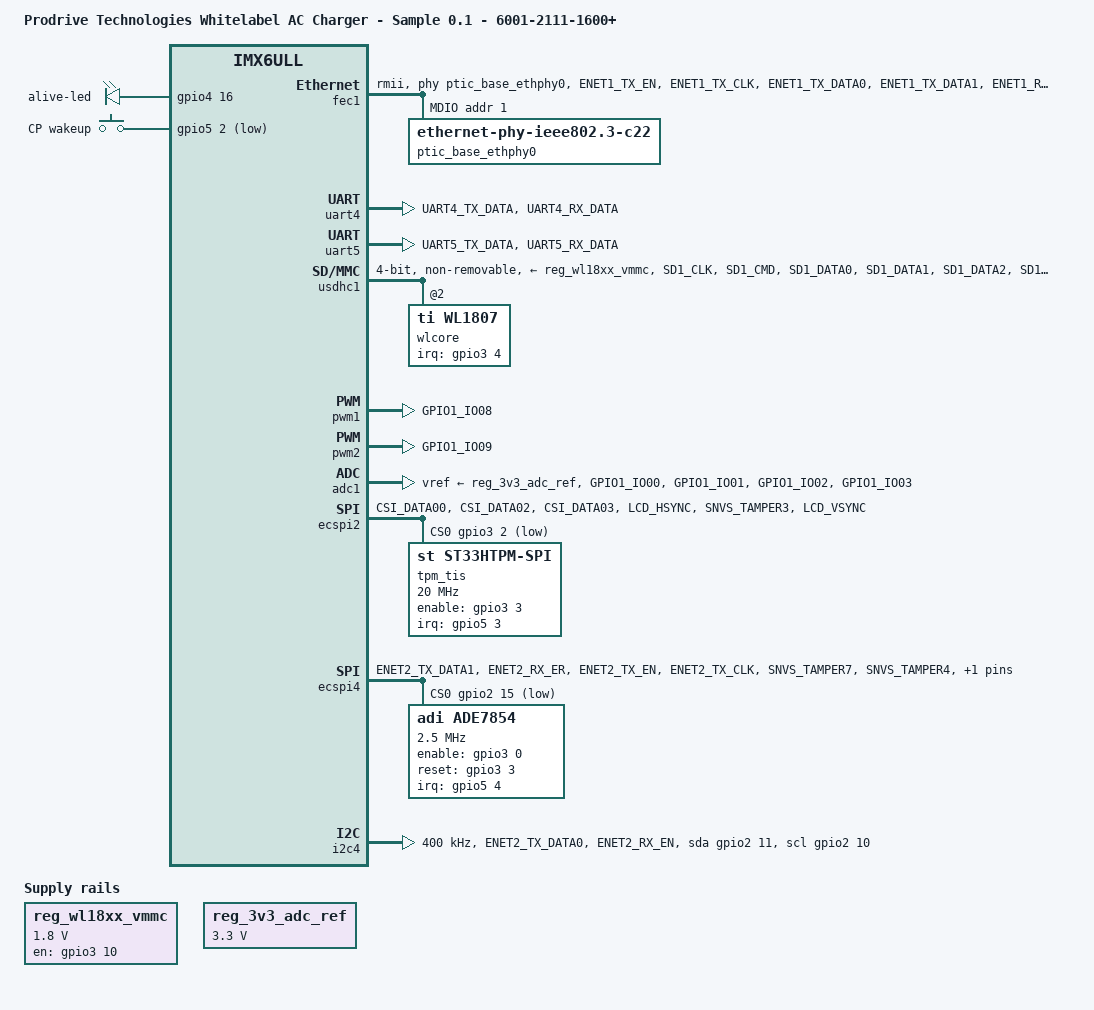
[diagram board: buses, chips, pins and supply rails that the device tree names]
// SPDX-License-Identifier: (GPL-2.0 OR MIT)
//
// Copyright (C) 2021 Prodrive Technologies

/dts-v1/;

#include "ptic/imx6ulx-bb-v1.dtsi"

/ {
	/* Device tree supporting PCBs with release R00 and higher */
	model = "Prodrive Technologies Whitelabel AC Charger - Sample 0.1 - 6001-2111-1600+";
	compatible = "fsl,imx6ull-bb-evk", "fsl,imx6ull";

	reg_wl18xx_vmmc:  regulator-wl18xx-vmcc {
		compatible = "regulator-fixed";
		regulator-name = "vwl1807";
		pinctrl-names = "default";
		pinctrl-0 = <&pinctrl_wlan_en>;
		regulator-min-microvolt = <1800000>;
		regulator-max-microvolt = <1800000>;
		regulator-boot-on;
		regulator-always-on;
		gpio = <&gpio3 10 GPIO_ACTIVE_HIGH>;
		startup-delay-us = <70000>;
		enable-active-high;
	};

	reg_3v3_adc_ref: regulator-3v3-adc-ref {
		compatible = "regulator-fixed";
		regulator-always-on;
		regulator-name = "3v3_adc_ref";
		regulator-min-microvolt = <3300000>;
		regulator-max-microvolt = <3300000>;
	};

	leds {
		compatible = "gpio-leds";
		pinctrl-0 = <&pinctrl_led>;
		led0: led {
			label = "alive-led";
			gpios = <&gpio4 16 GPIO_ACTIVE_HIGH>;
			linux,default-trigger = "heartbeat";
			default-state = "on";
		};
	};

	gpio-keys {
		compatible = "gpio-keys";
		pinctrl-0 = <&pinctrl_cp_wakeup>;
		power {
			label = "CP wakeup";
			gpios = <&gpio5 2 1>;
			linux,code = <116>; /* KEY_POWER */
			gpio-key,wakeup;
		};
	};

};

// TODO: Change Clock rate in future
&clks {
	assigned-clocks = <&clks IMX6UL_CLK_PLL3_PFD2>;
	assigned-clock-rates = <320000000>;
};

/*
  Boot flash, last partition must be defined by user
  Currently set to 128 MiB.
*/
&imx6ulx_bb_nand_flash {
	partition@0x04100000 {
		label = "user definable";
		reg = <0x04100000 0x03F00000>;
	};
};

/*
  These following instances are available on the iMX6ULx BB.
  It is not required to define these as they are disabled by default.
*/
&fec1 {
    pinctrl-names = "default";
    phy-mode = "rmii";
	pinctrl-0 = <&pinctrl_enet1>;
	phy-handle = <&ptic_base_ethphy0>;
	status = "okay";

	mdio {
		#address-cells = <1>;
		#size-cells = <0>;

		ptic_base_ethphy0: ethernet-phy@1 {
			compatible = "ethernet-phy-ieee802.3-c22";
			reg = <1>;
			clocks = <&clks IMX6UL_CLK_ENET_REF>;
		};
	};
};

/* RS485 */
&uart4 {
	pinctrl-names = "default";
	pinctrl-0 = <&pinctrl_uart4>;
	status = "okay";
};
/* SMCU Comm */
&uart5 {
	pinctrl-names = "default";
	pinctrl-0 = <&pinctrl_uart5>;
	status = "okay";
};

&usbotg2 {
	pinctrl-names = "default";
	dr_mode = "host";
	status = "disabled";
};

/* WLAN */
&usdhc1 {
	pinctrl-names = "default";
	vmmc-supply = <&reg_wl18xx_vmmc>;
	pinctrl-0 = <&pinctrl_usdhc1 &pinctrl_wlan_irq>;
	bus-width = <4>;
	status = "okay";
	non-removable;
	cap-power-off-card;
	keep-power-in-suspend;
	sd-uhs-sdr25;
	max-frequency = <25000000>;

	#address-cells = <1>;
	#size-cells = <0>;
	wlcore: wlcore@0 {
		compatible = "ti,wl1807","ti,wl1837";
		reg = <2>;
		interrupt-parent = <&gpio3>;
		interrupts = <4 IRQ_TYPE_EDGE_RISING>;
	};
};

/* Control Pilot */
&pwm1 {
	pinctrl-names = "default";
	pinctrl-0 = <&pinctrl_pwm1>;
	status = "okay";
};

/* Buzzer */
&pwm2 {
	pinctrl-names = "default";
	pinctrl-0 = <&pinctrl_pwm2>;
	#pwm-cells = <2>;
	status = "okay";
};

/* ADC */
&adc1 {
	pinctrl-names = "default";
	pinctrl-0 = <&pinctrl_adc1>;
	vref-supply = <&reg_3v3_adc_ref>;
	num-channels = <4>;
	adc-ch-list = <0 1 2 3>;
	status = "okay";
};

/* TPM */
&ecspi2 {
	pinctrl-names = "default";
	pinctrl-0 = <&pinctrl_ecspi2 &pinctrl_tpm_irq &pinctrl_tpm_stby>;
	status = "okay";
	cs-gpios = <&gpio3 2 GPIO_ACTIVE_LOW>;

	tpm_tis@0 {
		compatible = "st,st33htpm-spi", "tcg,tpm_tis-spi";
		reg = <0>; /* Use CS0 */
		spi-max-frequency = <20000000>; /* TPM up to 33M, iMX up to ~23M */
		interrupt-parent = <&gpio5>;
		interrupts = <3 GPIO_ACTIVE_LOW>;
		enable-gpios = <&gpio3 3 GPIO_ACTIVE_HIGH>;
	};
};

/* PLC Communication */
&ecspi3 {
	pinctrl-names = "default";
	pinctrl-0 = <&pinctrl_ecspi3>;
	status = "disabled";
	cs-gpios = <&gpio1 20 GPIO_ACTIVE_LOW>;
};

/* Energy Meter */
&ecspi4 {
	pinctrl-names = "default";
	pinctrl-0 = <&pinctrl_ecspi4 &pinctrl_meter_irqs &pinctrl_meter_enable>;
	status = "okay";
	cs-gpios = <&gpio2 15 GPIO_ACTIVE_LOW>;

	ade7854@0 {
		compatible = "adi,ade7854";
		reg = <0>;
		spi-max-frequency = <2500000>;
		/* Enable METER_PM1 */
		enable-gpios =  <&gpio3 0 GPIO_ACTIVE_HIGH>; /* PM1 (high on iMX = low on meter */
		reset-gpios = <&gpio3 3 GPIO_ACTIVE_HIGH>;
		/* spi-cpol; shown in ad7190 chip example */
		/* spi-cpha; shown in ad7190 chip example */
		interrupt-parent = <&gpio5>;
		interrupts = <4 GPIO_ACTIVE_LOW>, <7 GPIO_ACTIVE_LOW>;
	};
};

/* LED */
&i2c4 {
	clock-frequency = <400000>;
	pinctrl-names = "default", "gpio";
	pinctrl-0 = <&pinctrl_i2c4>;
	pinctrl-1 = <&pinctrl_i2c4_gpio>;
	scl-gpios = <&gpio2 10 (GPIO_ACTIVE_HIGH | GPIO_OPEN_DRAIN)>;
	sda-gpios = <&gpio2 11 (GPIO_ACTIVE_HIGH | GPIO_OPEN_DRAIN)>;
	status = "okay";
};

/* The Label IOMUXC can be used to overwrite GPIO's */
&iomuxc {
  pinctrl-names = "default";
  pinctrl-0 = <&pinctrl_gpio>;

  pinctrl_enet1: enet1grp {
		fsl,pins = <
			MX6UL_PAD_ENET1_TX_EN__ENET1_TX_EN		0x1b0b0
			MX6UL_PAD_ENET1_TX_CLK__ENET1_REF_CLK1	0x4001b031
			MX6UL_PAD_ENET1_TX_DATA0__ENET1_TDATA00	0x1b0b0
			MX6UL_PAD_ENET1_TX_DATA1__ENET1_TDATA01	0x1b0b0
			MX6UL_PAD_ENET1_RX_EN__ENET1_RX_EN		0x1b0b0
			MX6UL_PAD_ENET1_RX_ER__ENET1_RX_ER		0x1b0b0
			MX6UL_PAD_ENET1_RX_DATA0__ENET1_RDATA00	0x1b0b0
			MX6UL_PAD_ENET1_RX_DATA1__ENET1_RDATA01	0x1b0b0
            MX6UL_PAD_ENET2_RX_DATA0__ENET1_MDIO	0x1b0b0
			MX6UL_PAD_ENET2_RX_DATA1__ENET1_MDC		0x1b0b0
		>;
	};

  pinctrl_adc1: adc1grp {
		fsl,pins = <
			MX6UL_PAD_GPIO1_IO00__GPIO1_IO00	0x0 /* CP_ADC */
			MX6UL_PAD_GPIO1_IO01__GPIO1_IO01	0x0 /* PP */
			MX6UL_PAD_GPIO1_IO02__GPIO1_IO02	0x0 /* NTC1 */
			MX6UL_PAD_GPIO1_IO03__GPIO1_IO03	0x0 /* NTC2 */
		>;
	};

  pinctrl_ecspi2: ecspi2grp {
		fsl,pins = <
			MX6UL_PAD_CSI_DATA00__ECSPI2_SCLK	0x10b0
			MX6UL_PAD_CSI_DATA02__ECSPI2_MOSI	0x10b0
			MX6UL_PAD_CSI_DATA03__ECSPI2_MISO	0x10b0
			/*MX6UL_PAD_LCD_HSYNC__ECSPI2_SS1	0x10b0 */
			/*MX6UL_PAD_CSI_DATA01__GPIO4_IO22	0x10b0 */ /* GPIO CS for RFID */
			MX6UL_PAD_LCD_HSYNC__GPIO3_IO02		0x10b0 /* GPIO CS for TPM */
		>;
	};

	pinctrl_ecspi3: ecspi3grp {
		fsl,pins = <
			MX6UL_PAD_UART2_RX_DATA__ECSPI3_SCLK		0x10b0
			MX6UL_PAD_UART2_TX_DATA__GPIO1_IO20		0x10b0 /* CS# */
			MX6UL_PAD_UART2_CTS_B__ECSPI3_MOSI		0x10b0
			MX6UL_PAD_UART2_RTS_B__ECSPI3_MISO		0x10b0
		>;
	};

	pinctrl_ecspi4: ecspi4grp {
		fsl,pins = <
			MX6UL_PAD_ENET2_TX_DATA1__ECSPI4_SCLK		0x10b0
			MX6UL_PAD_ENET2_RX_ER__GPIO2_IO15		0x10b0 /* CS# */
			MX6UL_PAD_ENET2_TX_EN__ECSPI4_MOSI		0x10b0
			MX6UL_PAD_ENET2_TX_CLK__ECSPI4_MISO		0x10b0
		>;
	};

	pinctrl_i2c4: i2c4grp {
			fsl,pins = <
			MX6UL_PAD_ENET2_TX_DATA0__I2C4_SDA	0x4001b8b0
			MX6UL_PAD_ENET2_RX_EN__I2C4_SCL		0x4001b8b0
		>;
	};

	pinctrl_i2c4_gpio: i2c4gpiogrp {
			fsl,pins = <
			MX6UL_PAD_ENET2_TX_DATA0__GPIO2_IO11	0x1b0b0
			MX6UL_PAD_ENET2_RX_EN__GPIO2_IO10		0x1b8b0
		>;
	};

	pinctrl_uart4: uart4grp {
		fsl,pins = <
			MX6UL_PAD_UART4_TX_DATA__UART4_DCE_TX	0x1b0b1
			MX6UL_PAD_UART4_RX_DATA__UART4_DCE_RX	0x1b0b1
		>;
	};

	pinctrl_uart5: uart5grp {
		fsl,pins = <
			MX6UL_PAD_UART5_TX_DATA__UART5_DCE_TX	0x1b0b1
			MX6UL_PAD_UART5_RX_DATA__UART5_DCE_RX	0x1b0b1
		>;
	};

	pinctrl_usdhc1: usdhc1grp {
		fsl,pins = <
			MX6UL_PAD_SD1_CLK__USDHC1_CLK		0x10059
			MX6UL_PAD_SD1_CMD__USDHC1_CMD		0x17059
			MX6UL_PAD_SD1_DATA0__USDHC1_DATA0	0x17059
			MX6UL_PAD_SD1_DATA1__USDHC1_DATA1	0x17059
			MX6UL_PAD_SD1_DATA2__USDHC1_DATA2	0x17059
			MX6UL_PAD_SD1_DATA3__USDHC1_DATA3	0x17059
		>;
	};

	pinctrl_pwm1: pmw1grp {
		fsl,pins = <
			MX6UL_PAD_GPIO1_IO08__PWM1_OUT		0xb079
		>;
	};

	pinctrl_pwm2: pmw2grp {
		fsl,pins = <
			MX6UL_PAD_GPIO1_IO09__PWM2_OUT		0x3018
		>;
	};

	pinctrl_led: ledgrp {
		fsl,pins = <
			MX6UL_PAD_NAND_DQS__GPIO4_IO16			0x10b0 /* PCB LED */
		>;
	};

	pinctrl_meter_enable: meterenablegrp {
		fsl,pins = <
			MX6UL_PAD_LCD_CLK__GPIO3_IO00			0xd0b0 /* METER_PM1 */
		>;
	};

	pinctrl_meter_reset: meterrstgrp {
		fsl,pins = <
			MX6UL_PAD_LCD_ENABLE__GPIO3_IO01                0x10b0 /* METER_RESET */
		>;
	};

	pinctrl_wlan_irq: wlanirqgrp {
		fsl,pins = <
			MX6UL_PAD_LCD_RESET__GPIO3_IO04			0x10b0 /* WLAN_IRQ */
		>;
	};

	pinctrl_tpm_stby: tpmstbygrp {
		fsl,pins = <
			MX6UL_PAD_LCD_VSYNC__GPIO3_IO03			0xb030 /* TPM_STBY */
		>;
	};

	pinctrl_wlan_en: wlanengrp {
		fsl,pins = <
			MX6UL_PAD_LCD_DATA05__GPIO3_IO10		0x1030 /* WLAN ENABLE */
		>;
	};

	pinctrl_gpio: pinctrlgpio {
		fsl,pins = <
			MX6UL_PAD_LCD_DATA02__GPIO3_IO07		0x10b0 /* GM_OK_n */
			MX6UL_PAD_UART3_TX_DATA__GPIO1_IO24		0x10b0 /* SOCKET_ALLOW */
			MX6UL_PAD_UART3_RX_DATA__GPIO1_IO25		0x10b0 /* SOCKET_OPEN */
			MX6UL_PAD_UART3_RTS_B__GPIO1_IO27		0x10b0 /* SOCKET_LOCK */
			MX6UL_PAD_UART3_CTS_B__GPIO1_IO26		0x10b0 /* SOCKET_FB */
			MX6UL_PAD_UART1_RTS_B__GPIO1_IO19		0x10b0 /* SMCU_RST */
			MX6UL_PAD_NAND_CE1_B__GPIO4_IO14		0x10b0 /* MAINS_LOSS */
		>;

	};
};

&iomuxc_snvs {

	/* Note on iMX6ULL all SNVS tamper pins are MX6ULL_PAD instead of MX6UL_PAD */
	pinctrl_meter_irqs: meterirqsgrp {
		fsl,pins = <
			MX6ULL_PAD_SNVS_TAMPER7__GPIO5_IO07		0x10b0 /* METER_IRQ1_n */
			MX6ULL_PAD_SNVS_TAMPER4__GPIO5_IO04		0x10b0 /* METER_IRQ0_n */
		>;
	};

	pinctrl_cp_wakeup: cpwakeupgrp {
		fsl,pins = <
			MX6ULL_PAD_SNVS_TAMPER2__GPIO5_IO02		0x10b0 /* CP_WAKEUP */
		>;
	};

	pinctrl_smcu_irq: smcuirqgrp {
		fsl,pins = <
			MX6ULL_PAD_SNVS_TAMPER8__GPIO5_IO08		0x10b0 /* SMCU_IRQ */
		>;
	};

	pinctrl_tpm_irq: tpmirqgrp {
		fsl,pins = <
			MX6ULL_PAD_SNVS_TAMPER3__GPIO5_IO03		0x10b0 /* TPM_IRQ */
		>;
	};

};
